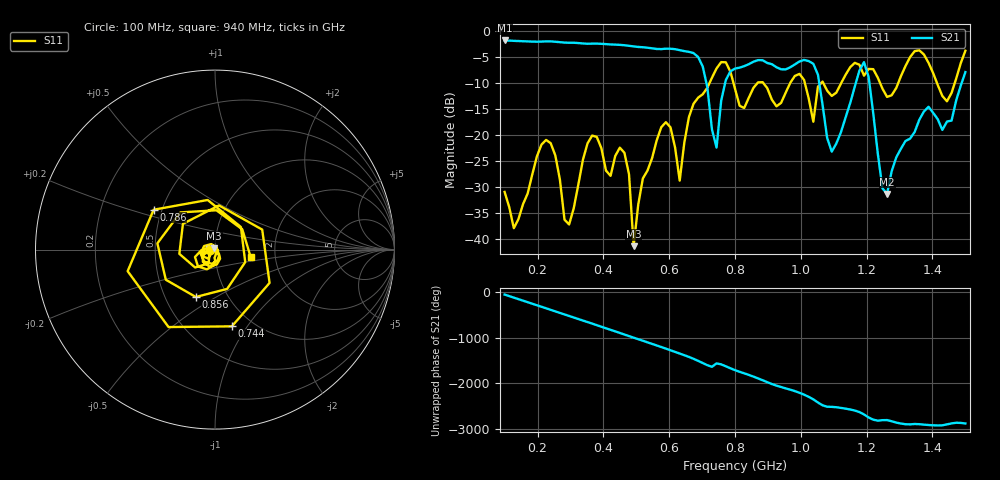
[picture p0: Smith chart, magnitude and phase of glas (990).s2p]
! NanoVNA-App
! Date: 2025-09-25 16:03:10
! Start: 100MHz Stop: 1,5GHz Points: 101
! S-Parameter data: F S11 S21 S12 S22
# Hz S RI R 50
!  Frequency  S11_Real  S11_Imag  S21_Real  S21_Imag  S12_Real  S12_Imag  S22_Real  S22_Imag
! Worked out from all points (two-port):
!   101 points, 100 MHz to 1.5 GHz, reference 50 ohm
!   highest |S21| = -1.80 dB at 100 MHz (marker M1); lowest = -31.3 dB at 1.262 GHz (marker M2)
!   |S21| within 3 dB of the highest: start of sweep to 684.5 MHz
!   lowest |S11| = -41.3 dB at 492 MHz (marker M3), VSWR 1.02, Z = 49.5 + j0.657 ohm
!   |S11| at or under -10 dB: start of sweep to 722.5 MHz; 795.4 MHz to 868.1 MHz (72.68 MHz wide, 8.74 % of centre); 886.2 MHz to 967.5 MHz (81.31 MHz wide, 8.77 % of centre) (the widest 3 of 7)
!   S12 and S22 are empty: the file has one direction only
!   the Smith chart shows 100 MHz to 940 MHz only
!   S11 on the Smith chart (normalised r, x): 100 MHz: 0.94, -0.01; 744 MHz: 0.81, -0.85; 786 MHz: 0.45, +0.24; 856 MHz: 0.71, -0.41; 940 MHz: 1.49, -0.14
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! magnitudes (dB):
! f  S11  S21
! 100 MHz  -30.9  -1.8
! 128 MHz  -37.9  -1.9
! 226 MHz  -20.9  -2.0
! 296 MHz  -37.2  -2.2
! 338 MHz  -24.7  -2.4
! 464 MHz  -23.4  -2.7
! 492 MHz  -41.3  -2.9
! 576 MHz  -18.5  -3.5
! 632 MHz  -28.7  -3.7
! 702 MHz  -12.1  -6.8
! 744 MHz  -7.2  -22.4
! 786 MHz  -7.8  -7.7
! 800 MHz  -11.1  -7.2
! 856 MHz  -10.9  -5.9
! 940 MHz  -13.8  -7.3
! 996 MHz  -8.2  -5.8
! 1.038 GHz  -17.4  -6.3
! 1.094 GHz  -12.5  -23.2
! 1.192 GHz  -8.6  -6.0
! 1.262 GHz  -12.7  -31.3
! 1.276 GHz  -12.3  -26.9
! 1.5 GHz  -3.8  -7.9
